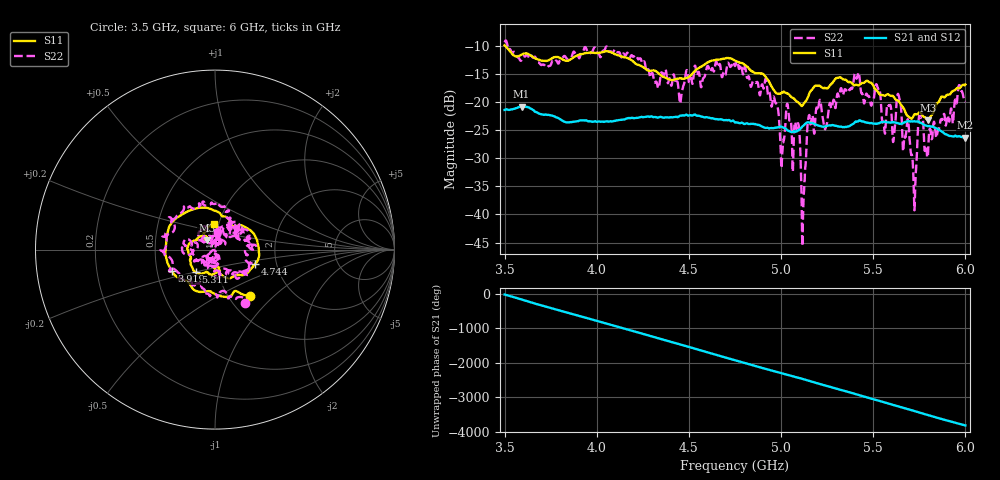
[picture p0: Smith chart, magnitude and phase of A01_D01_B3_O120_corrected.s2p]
! Created with skrf 1.9.0 (http://scikit-rf.org).
# Hz S RI R 50.0
!freq ReS11 ImS11 ReS21 ImS21 ReS12 ImS12 ReS22 ImS22
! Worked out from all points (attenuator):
!   1601 points, 3.5 GHz to 6 GHz, reference 50 ohm
!   highest |S21| = -20.75 dB at 3.592 GHz (marker M1); lowest = -26.3 dB at 6 GHz (marker M2)
!   lowest |S11| = -23.2 dB at 5.797 GHz (marker M3), VSWR 1.15, Z = 45.3 + j4.69 ohm
!   |S11| at or under -10 dB: 3.505 GHz to end of sweep
!   |S22| runs from -45.6 to -9.0 dB; largest |S21 - S12| = 0.0014
!   S11 on the Smith chart (normalised r, x): 3.5 GHz: 1.25, -0.72; 3.919 GHz: 0.60, -0.15; 4.744 GHz: 1.55, -0.26; 5.311 GHz: 0.78, -0.20; 6 GHz: 0.95, +0.28
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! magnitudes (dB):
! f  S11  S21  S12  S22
! 3.5 GHz  -9.8  -21.4  -21.4  -9.3
! 3.592 GHz  -11.5  -20.8  -20.8  -12.5
! 3.917 GHz  -11.4  -23.2  -23.2  -11.0
! 3.919 GHz  -11.4  -23.2  -23.2  -11.0
! 4.334 GHz  -14.8  -22.7  -22.7  -17.5
! 4.744 GHz  -12.5  -23.4  -23.4  -13.0
! 4.75 GHz  -12.6  -23.6  -23.6  -13.5
! 4.969 GHz  -18.2  -24.5  -24.5  -20.1
! 5.006 GHz  -18.3  -24.4  -24.4  -29.2
! 5.036 GHz  -18.5  -25.0  -25.0  -20.4
! 5.086 GHz  -19.9  -25.2  -25.2  -24.7
! 5.12 GHz  -20.4  -24.2  -24.1  -39.0
! 5.145 GHz  -19.1  -23.6  -23.6  -23.4
! 5.167 GHz  -17.8  -23.7  -23.7  -22.5
! 5.311 GHz  -15.6  -24.3  -24.3  -18.8
! 5.584 GHz  -18.7  -23.6  -23.6  -20.6
! 5.611 GHz  -19.0  -23.5  -23.5  -26.6
! 5.641 GHz  -19.9  -23.8  -23.8  -19.2
! 5.722 GHz  -22.2  -23.4  -23.4  -37.7
! 5.756 GHz  -21.8  -23.7  -23.6  -22.8
! 5.797 GHz  -23.2  -24.2  -24.2  -29.5
! 6 GHz  -16.8  -26.3  -26.3  -19.9
